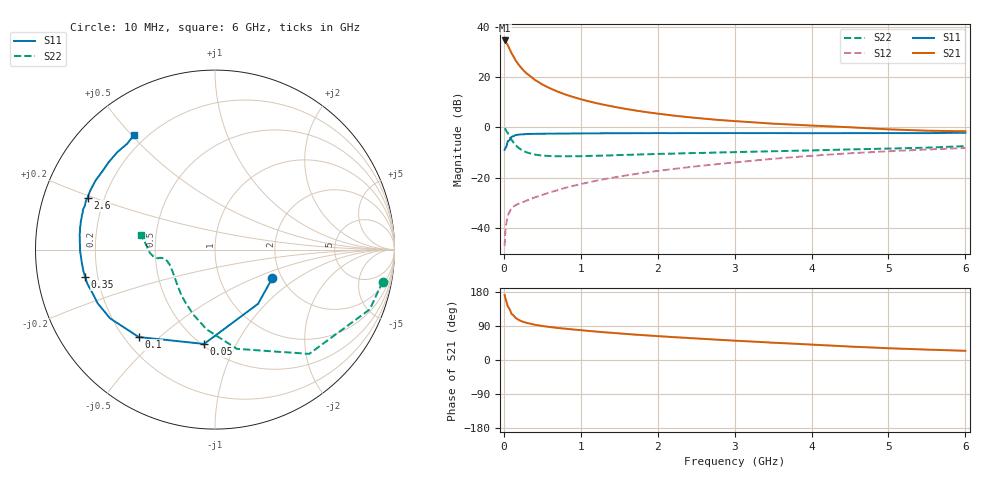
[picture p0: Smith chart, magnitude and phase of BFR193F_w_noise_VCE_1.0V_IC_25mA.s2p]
! Infineon Technologies  Discrete & RF Semiconductors
! BFR193F
! VCE =  1.0 V,  IC =  25 mA
! Common Emitter S-Parameters:  Jan 2017
# GHz  S  MA  R  50
!  f  S11  S21  S12  S22
! GHz  MAG  ANG  MAG  ANG  MAG  ANG  MAG  ANG
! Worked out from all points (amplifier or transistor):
!   77 points, 10 MHz to 6 GHz, reference 50 ohm
!   highest |S21| = 34.6 dB at 10 MHz (marker M1)
!   |S21| within 3 dB of that: start of sweep to 68.29 MHz
!   unconditionally stable (mu >= 1): 994.8 MHz to 2.964 GHz
!   at 130 MHz: K = 0.36, MSG = 29.7 dB, |S12| = -31.5 dB
!   at 2.2 GHz: K = 1.04, MAG = 9.4 dB, |S12| = -16.6 dB
!   at 6 GHz: K = 0.91, MSG = 3.3 dB, |S12| = -8.2 dB
!   lowest NFmin = 1.11 dB at 450 MHz
!   S11 on the Smith chart (normalised r, x): 10 MHz: 1.78, -0.65; 50 MHz: 0.51, -0.75; 100 MHz: 0.26, -0.43; 350 MHz: 0.15, -0.10; 2.6 GHz: 0.14, +0.19; 6 GHz: 0.15, +0.51
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0.01  0.3568 -26.6  53.72 171.7  0.0043 81.0  0.9509 -10.8
0.02  0.3857 -51.5  52.03 162.8  0.0085 73.8  0.9247 -21.1
0.05  0.5292 -96.6  43.44 142.1  0.0172 60.0  0.783 -47.9
0.1  0.6464 -131.1  30.01 121.8  0.0248 45.9  0.5661 -77.6
0.15  0.6991 -146.8  21.97 111.4  0.0279 43.9  0.4469 -96.0
0.2  0.7188 -155.4  17.07 105.0  0.0306 43.7  0.3814 -108.5
0.25  0.7262 -161.4  13.88 100.8  0.0325 45.1  0.3395 -118.6
0.3  0.7366 -165.2  11.72 97.7  0.035 46.4  0.3167 -126.1
0.35  0.7389 -168.0  10.29 95.7  0.0375 48.3  0.3004 -131.4
0.4  0.7429 -170.7  8.873 93.0  0.0401 50.0  0.287 -137.2
0.5  0.7457 -174.3  7.147 89.8  0.0452 53.7  0.2737 -144.8
0.6  0.7483 -177.2  5.988 87.0  0.0507 57.5  0.2679 -150.4
0.7  0.7522 -179.7  5.146 84.6  0.0561 59.5  0.2654 -154.4
0.8  0.7521 178.7  4.507 82.6  0.0625 61.3  0.2653 -158.0
1.1  0.7586 173.7  3.307 76.8  0.0801 65.1  0.2697 -163.8
1.5  0.7635 168.6  2.458 70.2  0.1048 67.4  0.2805 -168.2
2.1  0.7665 162.3  1.796 61.8  0.1417 68.1  0.2976 -170.9
2.6  0.7666 157.9  1.489 55.7  0.1736 67.8  0.31 -171.4
3.1  0.7683 153.4  1.301 50.0  0.2069 66.6  0.3236 -171.5
4.1  0.7644 144.2  1.068 39.6  0.2778 62.4  0.35 -174.6
5.1  0.7677 133.9  0.901 30.3  0.3391 56.2  0.3806 177.2
6  0.7824 125.2  0.835 24.3  0.3875 50.8  0.4226 168.8
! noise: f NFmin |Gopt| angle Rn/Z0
0.45  1.11  0.36  173  0.06
0.9  1.19  0.41  174  0.06
1.9  1.77  0.57  -169  0.07
2.4  2.06  0.61  -160  0.11
